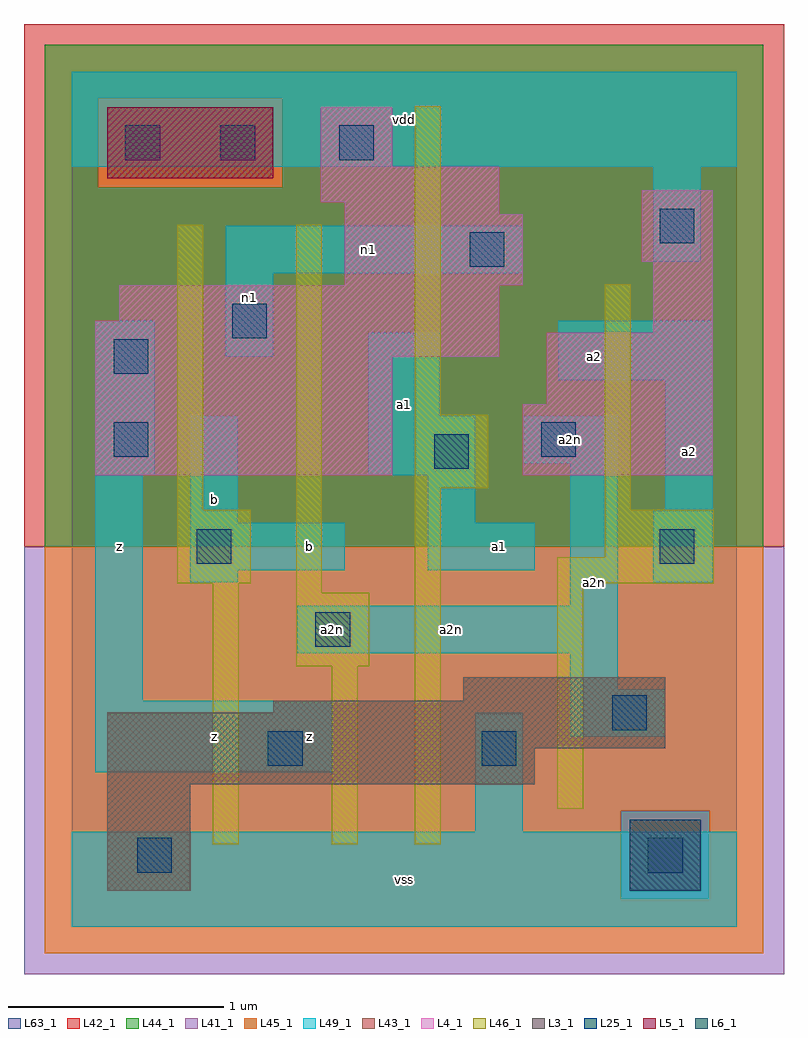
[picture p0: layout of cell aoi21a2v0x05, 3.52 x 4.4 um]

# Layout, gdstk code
import gdstk
lib = gdstk.Library(unit=1e-6, precision=1e-09)
def R(c, l, rs):  # rectangles x0, y0, x1, y1
    for r in rs: c.add(gdstk.rectangle(r[:2], r[2:], *l))
L3_1 = (3, 1)
L4_1 = (4, 1)
L5_1 = (5, 1)
L6_1 = (6, 1)
L25_1 = (25, 1)
L41_1 = (41, 1)
L42_1 = (42, 1)
L43_1 = (43, 1)
L44_1 = (44, 1)
L45_1 = (45, 1)
L46_1 = (46, 1)
L49_1 = (49, 1)
L63_1 = (63, 1)

aoi21a2v0x05 = lib.new_cell('aoi21a2v0x05')
R(aoi21a2v0x05, L3_1, [(0.165,0.165,0.55,0.66), (0.165,0.66,2.145,0.825), (0.165,0.825,2.75,0.99), (0.935,0.99,2.75,1.045), (1.815,1.045,2.75,1.155)])
R(aoi21a2v0x05, L4_1, [(0.11,2.09,1.485,2.64), (2.09,2.09,2.97,2.42), (2.2,2.42,2.97,2.75), (0.11,2.64,1.98,2.805), (2.695,2.75,2.97,3.08), (0.22,2.805,1.98,2.97), (1.265,2.97,2.09,3.3), (2.64,3.08,2.97,3.41), (1.265,3.3,1.98,3.355), (1.155,3.355,1.98,3.52), (1.155,3.52,1.485,3.795)])
R(aoi21a2v0x05, L5_1, [(0.165,3.465,0.935,3.795)])
R(aoi21a2v0x05, L6_1, [(2.585,0.165,2.915,0.495)])
R(aoi21a2v0x05, L25_1, [(0.305,0.25,0.465,0.41), (2.67,0.25,2.83,0.41), (0.91,0.745,1.07,0.905), (1.9,0.745,2.06,0.905), (2.505,0.91,2.665,1.07), (1.13,1.295,1.29,1.455), (0.58,1.68,0.74,1.84), (2.725,1.68,2.885,1.84), (1.68,2.12,1.84,2.28), (0.195,2.175,0.355,2.335), (2.175,2.175,2.335,2.335), (0.195,2.56,0.355,2.72), (0.745,2.725,0.905,2.885), (1.845,3.055,2.005,3.215), (2.725,3.165,2.885,3.325), (0.25,3.55,0.41,3.71), (0.69,3.55,0.85,3.71), (1.24,3.55,1.4,3.71)])
R(aoi21a2v0x05, L41_1, [(-0.22,-0.22,3.3,1.76)])
R(aoi21a2v0x05, L42_1, [(-0.22,1.76,3.3,4.18)])
R(aoi21a2v0x05, L43_1, [(0.165,0.165,0.55,0.66), (2.585,0.165,2.915,0.495), (0.165,0.66,2.145,0.825), (0.165,0.825,2.75,0.99), (0.935,0.99,2.75,1.045), (1.815,1.045,2.75,1.155), (0.11,2.09,1.485,2.64), (2.09,2.09,2.97,2.42), (2.2,2.42,2.97,2.75), (0.11,2.64,1.98,2.805), (2.695,2.75,2.97,3.08), (0.22,2.805,1.98,2.97), (1.265,2.97,2.09,3.3), (2.64,3.08,2.97,3.41), (1.265,3.3,1.98,3.355), (1.155,3.355,1.98,3.52), (0.165,3.465,0.935,3.795), (1.155,3.52,1.485,3.795)])
R(aoi21a2v0x05, L44_1, [(2.545,0.125,2.955,0.535), (-0.125,1.76,3.205,3.425), (-0.125,3.425,0.125,3.835), (0.975,3.425,3.205,3.835), (-0.125,3.835,3.205,4.085)])
R(aoi21a2v0x05, L45_1, [(-0.125,-0.125,3.205,0.125), (-0.125,0.125,2.545,0.535), (2.955,0.125,3.205,0.535), (-0.125,0.535,3.205,1.76), (0.125,3.425,0.975,3.835)])
R(aoi21a2v0x05, L46_1, [(0.655,0.38,0.775,1.59), (1.205,0.38,1.325,1.205), (1.59,0.38,1.71,2.03), (2.25,0.545,2.37,1.59), (1.04,1.205,1.38,1.545), (1.04,1.545,1.16,3.25), (0.49,1.59,0.83,1.93), (2.25,1.59,2.975,1.71), (2.47,1.71,2.975,1.93), (0.49,1.93,0.61,3.25), (2.47,1.93,2.59,2.975), (1.59,2.03,1.93,2.37), (1.59,2.37,1.71,3.8)])
R(aoi21a2v0x05, L49_1, [(0,0,3.08,0.44), (1.87,0.44,2.09,0.99), (0.11,0.715,1.21,1.045), (2.31,0.88,2.75,1.1), (0.11,1.045,0.33,2.09), (2.31,1.1,2.53,1.265), (1.045,1.265,2.53,1.485), (2.31,1.485,2.53,2.145), (0.55,1.595,0.77,1.65), (2.695,1.595,2.97,1.925), (0.55,1.65,1.265,1.87), (1.65,1.65,2.145,1.87), (0.55,1.87,0.77,2.365), (1.65,1.87,1.87,2.09), (2.75,1.925,2.97,2.53), (0.11,2.09,0.385,2.805), (1.375,2.09,1.87,2.365), (2.09,2.145,2.53,2.365), (1.375,2.365,1.705,2.75), (2.255,2.53,2.97,2.805), (0.715,2.64,0.935,3.025), (0.715,3.025,2.09,3.245), (2.695,3.08,2.915,3.52), (0,3.52,3.08,3.96)])
R(aoi21a2v0x05, L63_1, [(0,0,3.08,3.96)])
aoi21a2v0x05.add(gdstk.Label('a2n', (1.21,1.375), layer=49, texttype=1))
aoi21a2v0x05.add(gdstk.Label('z', (0.22,1.76), layer=49, texttype=1))
aoi21a2v0x05.add(gdstk.Label('z', (1.1,0.88), layer=49, texttype=1))
aoi21a2v0x05.add(gdstk.Label('z', (0.66,0.88), layer=49, texttype=1))
aoi21a2v0x05.add(gdstk.Label('b', (1.1,1.76), layer=49, texttype=1))
aoi21a2v0x05.add(gdstk.Label('b', (0.66,1.98), layer=49, texttype=1))
aoi21a2v0x05.add(gdstk.Label('n1', (0.825,2.915), layer=49, texttype=1))
aoi21a2v0x05.add(gdstk.Label('vss', (1.54,0.22), layer=49, texttype=1))
aoi21a2v0x05.add(gdstk.Label('a1', (1.98,1.76), layer=49, texttype=1))
aoi21a2v0x05.add(gdstk.Label('a1', (1.54,2.42), layer=49, texttype=1))
aoi21a2v0x05.add(gdstk.Label('n1', (1.375,3.135), layer=49, texttype=1))
aoi21a2v0x05.add(gdstk.Label('vdd', (1.54,3.74), layer=49, texttype=1))
aoi21a2v0x05.add(gdstk.Label('a2n', (1.76,1.375), layer=49, texttype=1))
aoi21a2v0x05.add(gdstk.Label('a2', (2.86,2.2), layer=49, texttype=1))
aoi21a2v0x05.add(gdstk.Label('a2n', (2.42,1.595), layer=49, texttype=1))
aoi21a2v0x05.add(gdstk.Label('a2', (2.42,2.64), layer=49, texttype=1))
aoi21a2v0x05.add(gdstk.Label('a2n', (2.31,2.255), layer=49, texttype=1))

lib.write_gds('aoi21a2v0x05.gds')
